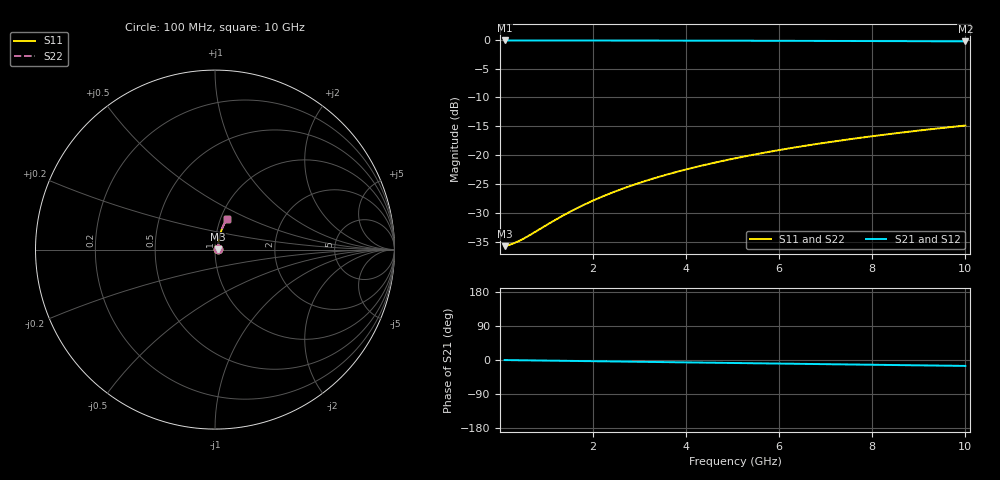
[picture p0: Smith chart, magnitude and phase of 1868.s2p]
# Hz S RI R 50.00
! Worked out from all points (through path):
!   100 points, 100 MHz to 10 GHz, reference 50 ohm
!   highest |S21| = -0.14 dB at 100 MHz (marker M1); lowest = -0.3 dB at 10 GHz (marker M2)
!   group delay of S21, straight-line fit = 4.34 ps
!   lowest |S11| = -35.7 dB at 100 MHz (marker M3), VSWR 1.03, Z = 51.6 + j0.186 ohm
!   |S11| at or under -10 dB: start of sweep to end of sweep
!   |S22| runs from -35.7 to -14.9 dB; largest |S21 - S12| = 0
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1e8  0.0162 0.0018  0.9838 -0.00271  0.9838 -0.00271  0.0162 0.0018
2e8  0.0163 0.00359  0.9837 -0.00542  0.9837 -0.00542  0.0163 0.00359
3e8  0.0164 0.00538  0.9836 -0.00813  0.9836 -0.00813  0.0164 0.00538
5e8  0.0166 0.00897  0.9833 -0.0135  0.9833 -0.0135  0.0166 0.00897
7e8  0.0168 0.0126  0.9831 -0.019  0.9831 -0.019  0.0168 0.0126
1.3e9  0.0176 0.0233  0.9823 -0.0352  0.9823 -0.0352  0.0176 0.0233
1.5e9  0.018 0.0269  0.9819 -0.0406  0.9819 -0.0406  0.018 0.0269
1.8e9  0.0185 0.0322  0.9813 -0.0487  0.9813 -0.0487  0.0185 0.0322
2.1e9  0.0191 0.0375  0.9806 -0.0568  0.9806 -0.0568  0.0191 0.0375
2.5e9  0.0201 0.0446  0.9796 -0.0675  0.9796 -0.0675  0.0201 0.0446
2.9e9  0.0213 0.0517  0.9784 -0.0783  0.9784 -0.0783  0.0213 0.0517
3.4e9  0.0229 0.0605  0.9766 -0.0916  0.9766 -0.0916  0.0229 0.0605
3.8e9  0.0243 0.0675  0.975 -0.1023  0.975 -0.1023  0.0243 0.0675
4.2e9  0.0259 0.0744  0.9733 -0.1129  0.9733 -0.1129  0.0259 0.0744
4.6e9  0.0277 0.0813  0.9714 -0.1235  0.9714 -0.1235  0.0277 0.0813
5.1e9  0.0301 0.0899  0.9687 -0.1366  0.9687 -0.1366  0.0301 0.0899
5.9e9  0.0344 0.1034  0.964 -0.1575  0.964 -0.1575  0.0344 0.1034
6.7e9  0.0393 0.1167  0.9587 -0.1781  0.9587 -0.1781  0.0393 0.1167
7.5e9  0.0448 0.1297  0.9528 -0.1985  0.9528 -0.1985  0.0448 0.1297
8.4e9  0.0515 0.144  0.9454 -0.2211  0.9454 -0.2211  0.0515 0.144
9.2e9  0.0581 0.1563  0.9382 -0.2408  0.9382 -0.2408  0.0581 0.1563
1e10  0.0652 0.1684  0.9305 -0.2602  0.9305 -0.2602  0.0652 0.1684
